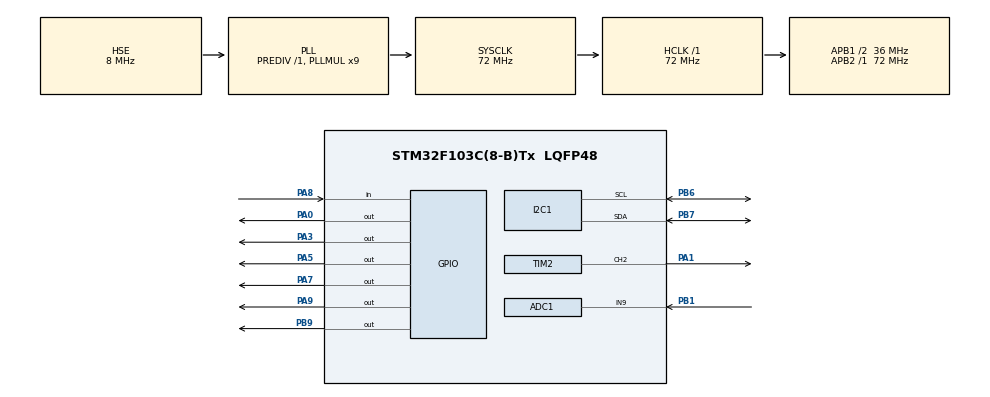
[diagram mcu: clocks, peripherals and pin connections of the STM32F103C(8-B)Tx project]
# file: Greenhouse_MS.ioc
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ADC1.Channel-0\#ChannelRegularConversion=ADC_CHANNEL_9
ADC1.ContinuousConvMode=ENABLE
ADC1.NbrOfConversionFlag=1
ADC1.Rank-0\#ChannelRegularConversion=1
ADC1.SamplingTime-0\#ChannelRegularConversion=ADC_SAMPLETIME_55CYCLES_5
ADC1.master=1
Mcu.Family=STM32F1
Mcu.Name=STM32F103C(8-B)Tx
Mcu.Package=LQFP48
NVIC.PriorityGroup=NVIC_PRIORITYGROUP_4
PA0-WKUP.Signal=GPIO_Output
PA1.Signal=S_TIM2_CH2
PA13.Mode=Serial_Wire
PA13.Signal=SYS_JTMS-SWDIO
PA14.Mode=Serial_Wire
PA14.Signal=SYS_JTCK-SWCLK
PA3.Signal=GPIO_Output
PA5.Signal=GPIO_Output
PA7.Signal=GPIO_Output
PA8.Signal=GPIO_Input
PA9.Signal=GPIO_Output
PB1.Signal=ADCx_IN9
PB6.Mode=I2C
PB6.Signal=I2C1_SCL
PB7.Mode=I2C
PB7.Signal=I2C1_SDA
PB9.Signal=GPIO_Output
PD0-OSC_IN.Mode=HSE-External-Oscillator
PD0-OSC_IN.Signal=RCC_OSC_IN
PD1-OSC_OUT.Mode=HSE-External-Oscillator
PD1-OSC_OUT.Signal=RCC_OSC_OUT
ProjectManager.HeapSize=0x200
ProjectManager.StackSize=0x400
ProjectManager.TargetToolchain=MDK-ARM V5.32
RCC.ADCPresc=RCC_ADCPCLK2_DIV6
RCC.AHBFreq_Value=72000000
RCC.APB1CLKDivider=RCC_HCLK_DIV2
RCC.APB1Freq_Value=36000000
RCC.APB1TimFreq_Value=72000000
RCC.APB2Freq_Value=72000000
RCC.APB2TimFreq_Value=72000000
RCC.HCLKFreq_Value=72000000
RCC.PLLMUL=RCC_PLL_MUL9
RCC.PLLSourceVirtual=RCC_PLLSOURCE_HSE
RCC.SYSCLKFreq_VALUE=72000000
RCC.SYSCLKSource=RCC_SYSCLKSOURCE_PLLCLK
RCC.USBFreq_Value=72000000
SH.ADCx_IN9.0=ADC1_IN9,IN9
SH.S_TIM2_CH2.0=TIM2_CH2,PWM Generation2 CH2
TIM1.Prescaler=71
TIM2.Channel-PWM\ Generation2\ CH2=TIM_CHANNEL_2
TIM2.Period=19999
TIM2.Prescaler=71
VP_TIM1_VS_ClockSourceINT.Mode=Internal
VP_TIM2_VS_ClockSourceINT.Mode=Internal
board=custom

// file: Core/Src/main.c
/* USER CODE BEGIN Header */
/**
  ******************************************************************************
  * @file           : main.c
  * @brief          : Enhanced Greenhouse Monitoring System
  ******************************************************************************
  * @attention
  *
  * Copyright (c) 2025 STMicroelectronics.
  * All rights reserved.
  *
  * This software is licensed under terms that can be found in the LICENSE file
  * in the root directory of this software component.
  * If no LICENSE file comes with this software, it is provided AS-IS.
  *
  ******************************************************************************
  */
/* USER CODE END Header */

#include "main.h"

/* USER CODE BEGIN Includes */
#include "stdio.h"
#include "string.h"
#include "liquidcrystal_i2c.h"
/* USER CODE END Includes */

/* USER CODE BEGIN PTD */
typedef struct {
    uint8_t dht_errors;
    uint8_t us_errors;
    uint8_t soil_errors;
    uint32_t last_error_time;
} error_tracker_t;

typedef enum {
    STATE_NORMAL,
    STATE_ALARM,
    STATE_ERROR,
    STATE_MAINTENANCE
} system_state_t;

typedef struct {
    uint8_t alarm_active;
    uint32_t alarm_start_time;
    uint8_t consecutive_alarms;
    uint32_t total_alarm_time;
    uint16_t alarm_count;
} alarm_state_t;

typedef struct {
    float temp_min, temp_max;
    float humidity_min, humidity_max;
    uint16_t soil_min, soil_max;
    uint16_t distance_min, distance_max;
    uint32_t last_reset_time;
} data_logger_t;
/* USER CODE END PTD */

/* USER CODE BEGIN PD */
// ---- DHT11 ----
#define DHT11_PORT GPIOB
#define DHT11_PIN  GPIO_PIN_9

// ---- HC-SR04 ----
#define TRIG_PIN   GPIO_PIN_9
#define TRIG_PORT  GPIOA
#define ECHO_PIN   GPIO_PIN_8
#define ECHO_PORT  GPIOA

// ---- Soil Moisture + LEDs ----
#define SOIL_PWR_PORT GPIOA
#define SOIL_PWR_PIN  GPIO_PIN_7
#define LED_R_PORT GPIOA
#define LED_R_PIN  GPIO_PIN_5
#define LED_G_PORT GPIOA
#define LED_G_PIN  GPIO_PIN_3
#define LED_B_PORT GPIOA
#define LED_B_PIN  GPIO_PIN_0

// ---- Servo (TIM2 CH2 on PA1) ----
#define SERVO_TIMER   htim2
#define SERVO_CH      TIM_CHANNEL_2
#define SERVO_FAST    1500  // 1.5ms pulse width for servo
#define SERVO_STOP    1000  // 1.0ms pulse width for servo

// ---- App settings ----
#define PAGE_MS       8000    // 8 sec page swap
#define SOIL_DRY_THR  3100
#define SOIL_MED_THR  2600
#define SOIL_WET_THR  2100
#define TANK_MIN_CM   5
#define TANK_MAX_CM   20      // Fixed: was 15, should be higher than MIN
#define DHT_READ_INTERVAL 2000 // 2 seconds between DHT reads
#define MAX_ERRORS    5
#define ALARM_TIMEOUT 300000   // 5 minutes max alarm
#define CALIBRATION_MODE 0     // Set to 1 for calibration mode

// Configuration validation
#if (SERVO_FAST <= SERVO_STOP)
#error "SERVO_FAST must be greater than SERVO_STOP"
#endif

#if (SOIL_DRY_THR <= SOIL_MED_THR)
#error "SOIL_DRY_THR must be greater than SOIL_MED_THR"
#endif

#if (TANK_MAX_CM <= TANK_MIN_CM)
#error "TANK_MAX_CM must be greater than TANK_MIN_CM"
#endif
/* USER CODE END PD */

ADC_HandleTypeDef hadc1;
I2C_HandleTypeDef hi2c1;
TIM_HandleTypeDef htim1;
TIM_HandleTypeDef htim2;

/* USER CODE BEGIN PV */
// DHT11 variables
static uint8_t RHI, RHD, TCI, TCD, SUM;
static float tCelsius = 0, tFahrenheit = 0, RH = 0;
static uint32_t pMillis, cMillis;
static uint32_t last_dht_read = 0;

// System state
static uint8_t all_ready = 0;
static uint8_t show_mode = 0;
static uint32_t last_switch_ms = 0;
static uint32_t blink_timer = 0;
static uint8_t blink_state = 0;

// Enhanced error tracking
static error_tracker_t errors = {0};
static system_state_t system_state = STATE_NORMAL;
static alarm_state_t alarm_state = {0};
static data_logger_t data_log = {
    .temp_min = 999, .temp_max = -999,
    .humidity_min = 999, .humidity_max = -999,
    .soil_min = 9999, .soil_max = 0,
    .distance_min = 999, .distance_max = 0,
    .last_reset_time = 0
};
/* USER CODE END PV */

void SystemClock_Config(void);
static void MX_GPIO_Init(void);
static void MX_ADC1_Init(void);
static void MX_I2C1_Init(void);
static void MX_TIM1_Init(void);
static void MX_TIM2_Init(void);

/* USER CODE BEGIN FPP */
// Basic sensor functions
static void microDelay(uint16_t us);
static uint8_t DHT11_Start(void);
static uint8_t DHT11_Read(void);
static uint8_t read_DHT11_basic(void);
static uint8_t read_HCSR04_cm_basic(uint16_t *cm);
static uint16_t read_soil_adc_basic(void);

// Enhanced sensor functions
static uint8_t read_DHT11_improved(void);
static uint8_t read_HCSR04_filtered(uint16_t *cm);
static uint16_t read_soil_adc_averaged(void);

// Display and control functions
static void set_leds(uint8_t r, uint8_t g, uint8_t b);
static void update_status_leds(uint8_t soil_dry, uint8_t soil_med, uint8_t soil_wet, uint8_t alarm);
static void servo_drive_fast(uint8_t on);

// System health and alarm functions
static uint8_t system_health_check(void);
static void update_alarm_logic(uint16_t soil, uint16_t tank_cm);
static void display_error_info(void);
static void display_stats_info(void);
static void update_data_logger(float temp, float hum, uint16_t soil, uint16_t dist);

// Device readiness checks
static uint8_t check_DHT_ready(void);
static uint8_t check_US_ready(void);
static uint8_t check_SOIL_ready(void);
static uint8_t check_SERVO_ready(void);
/* USER CODE END FPP */

/* USER CODE BEGIN 0 */

// ===== BASIC SENSOR FUNCTIONS =====
static void microDelay(uint16_t us) {
    __HAL_TIM_SET_COUNTER(&htim1, 0);
    while (__HAL_TIM_GET_COUNTER(&htim1) < us);
}

static uint8_t DHT11_Start(void) {
    uint8_t Response = 0;
    GPIO_InitTypeDef s = {0};
    s.Pin = DHT11_PIN;
    s.Mode = GPIO_MODE_OUTPUT_PP;
    s.Speed = GPIO_SPEED_FREQ_LOW;
    s.Pull = GPIO_NOPULL;
    HAL_GPIO_Init(DHT11_PORT, &s);
    HAL_GPIO_WritePin(DHT11_PORT, DHT11_PIN, GPIO_PIN_RESET);
    HAL_Delay(20);
    HAL_GPIO_WritePin(DHT11_PORT, DHT11_PIN, GPIO_PIN_SET);
    microDelay(30);
    s.Mode = GPIO_MODE_INPUT;
    s.Pull = GPIO_PULLUP;
    HAL_GPIO_Init(DHT11_PORT, &s);
    microDelay(40);
    if (!HAL_GPIO_ReadPin(DHT11_PORT, DHT11_PIN)) {
        microDelay(80);
        if (HAL_GPIO_ReadPin(DHT11_PORT, DHT11_PIN)) Response = 1;
    }
    pMillis = HAL_GetTick();
    cMillis = HAL_GetTick();
    while (HAL_GPIO_ReadPin(DHT11_PORT, DHT11_PIN) && (pMillis + 2 > cMillis)) {
        cMillis = HAL_GetTick();
    }
    return Response;
}

static uint8_t DHT11_Read(void) {
    uint8_t a, b = 0;
    for (a = 0; a < 8; a++) {
        pMillis = HAL_GetTick();
        cMillis = HAL_GetTick();
        while (!HAL_GPIO_ReadPin(DHT11_PORT, DHT11_PIN) && (pMillis + 2 > cMillis)) {
            cMillis = HAL_GetTick();
        }
        microDelay(40);
        if (!HAL_GPIO_ReadPin(DHT11_PORT, DHT11_PIN))
            b &= ~(1 << (7 - a));
        else
            b |= (1 << (7 - a));
        pMillis = HAL_GetTick();
        cMillis = HAL_GetTick();
        while (HAL_GPIO_ReadPin(DHT11_PORT, DHT11_PIN) && (pMillis + 2 > cMillis)) {
            cMillis = HAL_GetTick();
        }
    }
    return b;
}

static uint8_t read_DHT11_basic(void) {
    if (!DHT11_Start()) return 0;
    RHI = DHT11_Read();
    RHD = DHT11_Read();
    TCI = DHT11_Read();
    TCD = DHT11_Read();
    SUM = DHT11_Read();
    if ((uint8_t)(RHI + RHD + TCI + TCD) != SUM) return 0;
    tCelsius = (float)TCI + (float)(TCD / 10.0f);
    tFahrenheit = tCelsius * 9.0f / 5.0f + 32.0f;
    RH = (float)RHI + (float)(RHD / 10.0f);
    return 1;
}

static uint8_t read_HCSR04_cm_basic(uint16_t *cm) {
    HAL_GPIO_WritePin(TRIG_PORT, TRIG_PIN, GPIO_PIN_RESET);
    microDelay(2);
    HAL_GPIO_WritePin(TRIG_PORT, TRIG_PIN, GPIO_PIN_SET);
    microDelay(10);
    HAL_GPIO_WritePin(TRIG_PORT, TRIG_PIN, GPIO_PIN_RESET);

    uint32_t timeout_start = HAL_GetTick();
    // Wait for echo start
    while (!HAL_GPIO_ReadPin(ECHO_PORT, ECHO_PIN)) {
        if (HAL_GetTick() - timeout_start > 10) return 0;
    }

    uint32_t v1 = __HAL_TIM_GET_COUNTER(&htim1);
    timeout_start = HAL_GetTick();

    // Wait for echo end
    while (HAL_GPIO_ReadPin(ECHO_PORT, ECHO_PIN)) {
        if (HAL_GetTick() - timeout_start > 50) return 0;
    }

    uint32_t v2 = __HAL_TIM_GET_COUNTER(&htim1);

    // Handle timer overflow
    if (v2 < v1) {
        v2 += 65536;
    }

    uint32_t pulse_width = v2 - v1;
    *cm = (uint16_t)(pulse_width * 0.034f / 2.0f);

    // Sanity check for reasonable distance (2cm to 400cm)
    if (*cm < 2 || *cm > 400) {
        return 0;
    }

    return 1;
}

static uint16_t read_soil_adc_basic(void) {
    HAL_GPIO_WritePin(SOIL_PWR_PORT, SOIL_PWR_PIN, GPIO_PIN_SET);
    HAL_Delay(50); // Increased stabilization time

    HAL_ADC_Start(&hadc1);
    if (HAL_ADC_PollForConversion(&hadc1, 100) != HAL_OK) {
        HAL_GPIO_WritePin(SOIL_PWR_PORT, SOIL_PWR_PIN, GPIO_PIN_RESET);
        return 0;
    }

    uint16_t v = HAL_ADC_GetValue(&hadc1);
    HAL_ADC_Stop(&hadc1);
    HAL_GPIO_WritePin(SOIL_PWR_PORT, SOIL_PWR_PIN, GPIO_PIN_RESET);
    return v;
}

// ===== ENHANCED SENSOR FUNCTIONS =====
static uint8_t read_DHT11_improved(void) {
    uint32_t now = HAL_GetTick();

    // DHT11 needs 2s between readings
    if (now - last_dht_read < DHT_READ_INTERVAL) {
        return 1; // Use previous values
    }
    last_dht_read = now;

    if (!DHT11_Start()) {
        errors.dht_errors++;
        errors.last_error_time = now;
        return 0;
    }

    RHI = DHT11_Read();
    RHD = DHT11_Read();
    TCI = DHT11_Read();
    TCD = DHT11_Read();
    SUM = DHT11_Read();

    if ((uint8_t)(RHI + RHD + TCI + TCD) != SUM) {
        errors.dht_errors++;
        errors.last_error_time = now;
        return 0;
    }

    // Sanity checks for realistic values
    if (TCI > 50 || RHI > 100) {
        errors.dht_errors++;
        errors.last_error_time = now;
        return 0;
    }

    // Reset error counter on success
    if (errors.dht_errors > 0) {
        errors.dht_errors--;
    }

    tCelsius = (float)TCI + (float)(TCD / 10.0f);
    tFahrenheit = tCelsius * 9.0f / 5.0f + 32.0f;
    RH = (float)RHI + (float)(RHD / 10.0f);

    return 1;
}

static uint8_t read_HCSR04_filtered(uint16_t *cm) {
    const uint8_t max_attempts = 3;
    uint16_t readings[3] = {0};
    uint8_t valid_readings = 0;

    for (uint8_t i = 0; i < max_attempts; i++) {
        if (read_HCSR04_cm_basic(&readings[valid_readings])) {
            valid_readings++;
        }
        HAL_Delay(20); // Increased delay between readings
    }

    if (valid_readings == 0) {
        errors.us_errors++;
        errors.last_error_time = HAL_GetTick();
        return 0;
    }

    // Use median of valid readings (simple implementation)
    if (valid_readings >= 2) {
        // Sort valid readings
        for (uint8_t i = 0; i < valid_readings - 1; i++) {
            for (uint8_t j = i + 1; j < valid_readings; j++) {
                if (readings[i] > readings[j]) {
                    uint16_t temp = readings[i];
                    readings[i] = readings[j];
                    readings[j] = temp;
                }
            }
        }
        *cm = readings[valid_readings / 2]; // Take median
    } else {
        *cm = readings[0];
    }

    // Reset error counter on success
    if (errors.us_errors > 0) {
        errors.us_errors--;
    }

    return 1;
}

static uint16_t read_soil_adc_averaged(void) {
    const uint8_t samples = 5;
    uint32_t sum = 0;
    uint8_t valid_samples = 0;

    HAL_GPIO_WritePin(SOIL_PWR_PORT, SOIL_PWR_PIN, GPIO_PIN_SET);
    HAL_Delay(100); // Longer stabilization

    for (uint8_t i = 0; i < samples; i++) {
        HAL_ADC_Start(&hadc1);
        if (HAL_ADC_PollForConversion(&hadc1, 50) == HAL_OK) {
            uint16_t reading = HAL_ADC_GetValue(&hadc1);
            if (reading > 0) { // Basic validity check
                sum += reading;
                valid_samples++;
            }
        }
        HAL_ADC_Stop(&hadc1);
        HAL_Delay(20);
    }

    HAL_GPIO_WritePin(SOIL_PWR_PORT, SOIL_PWR_PIN, GPIO_PIN_RESET);

    if (valid_samples == 0) {
        errors.soil_errors++;
        errors.last_error_time = HAL_GetTick();
        return 0;
    }

    // Reset error counter on success
    if (errors.soil_errors > 0) {
        errors.soil_errors--;
    }

    return (uint16_t)(sum / valid_samples);
}

// ===== DISPLAY AND CONTROL FUNCTIONS =====
static void set_leds(uint8_t r, uint8_t g, uint8_t b) {
    HAL_GPIO_WritePin(LED_R_PORT, LED_R_PIN, r ? GPIO_PIN_SET : GPIO_PIN_RESET);
    HAL_GPIO_WritePin(LED_G_PORT, LED_G_PIN, g ? GPIO_PIN_SET : GPIO_PIN_RESET);
    HAL_GPIO_WritePin(LED_B_PORT, LED_B_PIN, b ? GPIO_PIN_SET : GPIO_PIN_RESET);
}

static void update_status_leds(uint8_t soil_dry, uint8_t soil_med, uint8_t soil_wet, uint8_t alarm) {
    if (alarm) {
        // Blink red LED for alarm
        if (HAL_GetTick() - blink_timer > 500) {
            blink_state ^= 1;
            blink_timer = HAL_GetTick();
        }
        set_leds(blink_state, 0, 0);
    } else {
        // Normal moisture indication
        set_leds(soil_dry, soil_med, soil_wet);
    }
}

static void servo_drive_fast(uint8_t on) {
    __HAL_TIM_SET_COMPARE(&SERVO_TIMER, SERVO_CH, on ? SERVO_FAST : SERVO_STOP);
}

// ===== SYSTEM HEALTH AND ALARM FUNCTIONS =====
static uint8_t system_health_check(void) {
    uint32_t now = HAL_GetTick();

    // Check for persistent errors
    if (errors.dht_errors > MAX_ERRORS || errors.us_errors > MAX_ERRORS || errors.soil_errors > MAX_ERRORS) {
        system_state = STATE_ERROR;
        errors.last_error_time = now;
        return 0;
    }

    // Check for stuck alarm
    if (alarm_state.alarm_active && (now - alarm_state.alarm_start_time > ALARM_TIMEOUT)) {
        system_state = STATE_MAINTENANCE;
        return 0;
    }

    // Reset to normal if no issues
    if (system_state == STATE_ERROR && (now - errors.last_error_time > 30000)) { // 30s recovery
        system_state = STATE_NORMAL;
    }

    return 1;
}

static void update_alarm_logic(uint16_t soil, uint16_t tank_cm) {
    uint8_t soil_critical = (soil > SOIL_DRY_THR + 100); // Hysteresis
    uint8_t tank_critical = (tank_cm < TANK_MIN_CM || tank_cm > TANK_MAX_CM);
    uint8_t alarm_condition = soil_critical || tank_critical;

    if (alarm_condition && !alarm_state.alarm_active) {
        alarm_state.consecutive_alarms++;
        if (alarm_state.consecutive_alarms >= 3) { // Confirm alarm after 3 consecutive detections
            alarm_state.alarm_active = 1;
            alarm_state.alarm_start_time = HAL_GetTick();
            alarm_state.alarm_count++;
            system_state = STATE_ALARM;
            servo_drive_fast(1);
        }
    } else if (!alarm_condition && alarm_state.alarm_active) {
        // Clear alarm with hysteresis
        if (soil < (SOIL_DRY_THR - 100) && tank_cm >= TANK_MIN_CM && tank_cm <= TANK_MAX_CM) {
            alarm_state.total_alarm_time += (HAL_GetTick() - alarm_state.alarm_start_time);
            alarm_state.alarm_active = 0;
            alarm_state.consecutive_alarms = 0;
            system_state = STATE_NORMAL;
            servo_drive_fast(0);
        }
    }

    if (!alarm_condition) {
        alarm_state.consecutive_alarms = 0;
    }
}

static void display_error_info(void) {
    char line[17];
    HD44780_Clear();
    HD44780_SetCursor(0, 0);
    HD44780_PrintStr("System Errors:");
    snprintf(line, sizeof(line), "D:%u U:%u S:%u",
             errors.dht_errors, errors.us_errors, errors.soil_errors);
    HD44780_SetCursor(0, 1);
    HD44780_PrintStr(line);
}

static void display_stats_info(void) {
    char l1[17], l2[17];
    snprintf(l1, sizeof(l1), "Alarms:%3u", alarm_state.alarm_count);
    snprintf(l2, sizeof(l2), "T:%.1f-%.1fC", data_log.temp_min, data_log.temp_max);
    HD44780_Clear();
    HD44780_SetCursor(0, 0);
    HD44780_PrintStr(l1);
    HD44780_SetCursor(0, 1);
    HD44780_PrintStr(l2);
}

static void update_data_logger(float temp, float hum, uint16_t soil, uint16_t dist) {
    // Update min/max values only with valid data
    if (temp > -40 && temp < 80) { // Reasonable temperature range
        if (data_log.temp_min > 900 || temp < data_log.temp_min) data_log.temp_min = temp;
        if (data_log.temp_max < -900 || temp > data_log.temp_max) data_log.temp_max = temp;
    }
    if (hum >= 0 && hum <= 100) { // Valid humidity range
        if (data_log.humidity_min > 900 || hum < data_log.humidity_min) data_log.humidity_min = hum;
        if (data_log.humidity_max < -900 || hum > data_log.humidity_max) data_log.humidity_max = hum;
    }
    if (soil > 0 && soil < 4096) { // Valid ADC range
        if (soil < data_log.soil_min) data_log.soil_min = soil;
        if (soil > data_log.soil_max) data_log.soil_max = soil;
    }
    if (dist > 0 && dist < 400) { // Valid distance range
        if (data_log.distance_min > 900 || dist < data_log.distance_min) data_log.distance_min = dist;
        if (dist > data_log.distance_max) data_log.distance_max = dist;
    }
}

// ===== DEVICE READINESS CHECKS =====
static uint8_t check_DHT_ready(void) {
    uint8_t result = read_DHT11_basic();
    HAL_Delay(100); // Give sensor time to recover
    return result;
}

static uint8_t check_US_ready(void) {
    uint16_t cm;
    uint8_t result = read_HCSR04_cm_basic(&cm);
    HAL_Delay(100);
    return result;
}

static uint8_t check_SOIL_ready(void) {
    uint16_t v = read_soil_adc_basic();
    return (v > 0 && v < 4096);
}

static uint8_t check_SERVO_ready(void) {
    // Test servo by moving it briefly
    servo_drive_fast(1);
    HAL_Delay(200);
    servo_drive_fast(0);
    HAL_Delay(200);
    return 1;
}

/* USER CODE END 0 */

int main(void)
{

/* Reset of all peripherals, Initializes the Flash interface and the Systick. */
HAL_Init();

/* Configure the system clock */
SystemClock_Config();

/* Initialize all configured peripherals */
MX_GPIO_Init();
MX_ADC1_Init();
MX_I2C1_Init();
MX_TIM1_Init();
MX_TIM2_Init();

/* USER CODE BEGIN 2 */
// Start timers and ADC
HAL_TIM_Base_Start(&htim1);
HAL_TIM_PWM_Start(&htim2, TIM_CHANNEL_2);

// Initialize LCD
HAL_Delay(1000); // Give I2C devices time to initialize
HD44780_Init(2);
HAL_Delay(500);
HD44780_Clear();
HD44780_SetCursor(0, 0);
HD44780_PrintStr("Greenhouse System");
HAL_Delay(2000);

HD44780_Clear();
HD44780_SetCursor(3, 0); // Centered on a 16x2 display
HD44780_PrintStr("Group : 3");
HAL_Delay(2000);

// Initialize data logger
data_log.last_reset_time = HAL_GetTick();

// Initialize servo to stop position
servo_drive_fast(0);

// Readiness loop with enhanced feedback
uint8_t retry_count = 0;
while (!all_ready && retry_count < 10) {
    all_ready = 1;

    HD44780_Clear();
    HD44780_SetCursor(0, 0);
    HD44780_PrintStr("Checking devices");
    HAL_Delay(500);

    if (!check_DHT_ready()) {
        HD44780_Clear();
        HD44780_PrintStr("DHT11 not ready");
        all_ready = 0;
        HAL_Delay(1000);
    }
    if (!check_US_ready()) {
        HD44780_Clear();
        HD44780_PrintStr("HC-SR04 not rdy");
        all_ready = 0;
        HAL_Delay(1000);
    }
    if (!check_SOIL_ready()) {
        HD44780_Clear();
        HD44780_PrintStr("Soil sens n/rdy");
        all_ready = 0;
        HAL_Delay(1000);
    }
    if (!check_SERVO_ready()) {
        HD44780_Clear();
        HD44780_PrintStr("Servo not ready");
        all_ready = 0;
        HAL_Delay(1000);
    }

    if (!all_ready) {
        retry_count++;
        char msg[17];
        snprintf(msg, sizeof(msg), "Retry %u/10", retry_count);
        HD44780_Clear();
        HD44780_SetCursor(0, 0);
        HD44780_PrintStr("Init failed");
        HD44780_SetCursor(0, 1);
        HD44780_PrintStr(msg);
        HAL_Delay(2000);
    }
}

if (all_ready) {
    HD44780_Clear();
    HD44780_PrintStr("All devices OK");
    set_leds(0, 1, 0); // Green LED for ready
    HAL_Delay(1000);
    set_leds(0, 0, 0);
    } else {
    HD44780_Clear();
    HD44780_PrintStr("Init FAILED!");
    HD44780_SetCursor(0, 1);
    HD44780_PrintStr("Check hardware");
    set_leds(1, 0, 0); // Red LED for error
    while(1) {
        // Blink error pattern
        set_leds(1, 0, 0);
        HAL_Delay(500);
        set_leds(0, 0, 0);
        HAL_Delay(500);
    } // Halt system
}

last_switch_ms = HAL_GetTick();
show_mode = 0;

/* USER CODE END 2 */

/* Infinite loop */
/* USER CODE BEGIN WHILE */
while (1)
{
    // System health check
    system_health_check();

    // Read sensors with enhanced functions
    uint16_t soil = read_soil_adc_averaged();
    uint16_t cm = 999;
    uint8_t distance_valid = read_HCSR04_filtered(&cm);
    uint8_t dht_valid = read_DHT11_improved();

    // Validate sensor readings
    if (soil == 0) soil = 2048; // Default middle value if ADC fails
    if (!distance_valid) cm = 999; // Error indicator

    // Soil moisture classification
    uint8_t soil_dry = (soil > SOIL_DRY_THR);
    uint8_t soil_med = (soil > SOIL_MED_THR) && (soil <= SOIL_DRY_THR);
    uint8_t soil_wet = (soil <= SOIL_WET_THR);

    // Tank status
    uint8_t tank_ok = distance_valid && (cm >= TANK_MIN_CM) && (cm <= TANK_MAX_CM);

    // Update alarm logic with enhanced hysteresis
    if (distance_valid) {
        update_alarm_logic(soil, cm);
    }

    // Update data logger
    if (dht_valid && distance_valid) {
        update_data_logger(tCelsius, RH, soil, cm);
    }

    // LED status with enhanced blinking for alarms
    update_status_leds(soil_dry, soil_med, soil_wet, alarm_state.alarm_active);

    // Display logic based on system state
    switch (system_state) {
        case STATE_ERROR:
            display_error_info();
            break;

        case STATE_MAINTENANCE:
            HD44780_Clear();
            HD44780_SetCursor(0, 0);
            HD44780_PrintStr("MAINTENANCE MODE");
            HD44780_SetCursor(0, 1);
            HD44780_PrintStr("Check system");
            servo_drive_fast(0); // Stop servo in maintenance
            break;

        case STATE_ALARM:
            HD44780_Clear();
            HD44780_SetCursor(0, 0);
            HD44780_PrintStr("ALERT: Action Req");
            char line[17];
            snprintf(line, sizeof(line), "S:%4u D:%2u", soil, (cm > 99 ? 99 : cm));
            HD44780_SetCursor(0, 1);
            HD44780_PrintStr(line);
            break;

        case STATE_NORMAL:
        default:
            // Enhanced page switching with more pages
            if (HAL_GetTick() - last_switch_ms >= PAGE_MS) {
                show_mode = (show_mode + 1) % 4; // 4 different pages
                last_switch_ms = HAL_GetTick();
            }

            switch (show_mode) {
                case 0: // DHT11 page
                    if (dht_valid) {
                        char l1[17], l2[17];
                        snprintf(l1, sizeof(l1), "T:%2d.%1dC H:%2d%%", TCI, (TCD/10), RHI);
                        int fahr_int = (int)tFahrenheit;
                        int fahr_dec = (int)(tFahrenheit * 10) % 10;
                        snprintf(l2, sizeof(l2), "F:%3d.%1d RH:%2d.%1d",
                                 fahr_int, fahr_dec, RHI, (RHD/10));
                        HD44780_Clear();
                        HD44780_SetCursor(0, 0);
                        HD44780_PrintStr(l1);
                        HD44780_SetCursor(0, 1);
                        HD44780_PrintStr(l2);
                    } else {
                        HD44780_Clear();
                        HD44780_PrintStr("DHT11 error");
                        char err_line[17];
                        snprintf(err_line, sizeof(err_line), "Errors: %u", errors.dht_errors);
                        HD44780_SetCursor(0, 1);
                        HD44780_PrintStr(err_line);
                    }
                    break;

                case 1: // Tank distance page
                    {
                        char l1[17], l2[17];
                        if (distance_valid) {
                            snprintf(l1, sizeof(l1), "Tank Dist:%2ucm", (cm > 99 ? 99 : cm));
                            snprintf(l2, sizeof(l2), "Range 5-20cm %s", tank_ok ? "OK" : "BAD");
                        } else {
                            snprintf(l1, sizeof(l1), "Tank: No signal");
                            snprintf(l2, sizeof(l2), "US Errors: %u", errors.us_errors);
                        }
                        HD44780_Clear();
                        HD44780_SetCursor(0, 0);
                        HD44780_PrintStr(l1);
                        HD44780_SetCursor(0, 1);
                        HD44780_PrintStr(l2);
                    }
                    break;

                case 2: // Soil moisture page
                    {
                        char l1[17], l2[17];
                        snprintf(l1, sizeof(l1), "Soil ADC: %4u", soil);
                        const char* status = soil_wet ? "WET" : (soil_med ? "MED" : "DRY");
                        snprintf(l2, sizeof(l2), "Status: %s", status);
                        HD44780_Clear();
                        HD44780_SetCursor(0, 0);
                        HD44780_PrintStr(l1);
                        HD44780_SetCursor(0, 1);
                        HD44780_PrintStr(l2);

                        #if CALIBRATION_MODE
                        // In calibration mode, also show raw values
                        HAL_Delay(1000);
                        HD44780_Clear();
                        HD44780_SetCursor(0, 0);
                        HD44780_PrintStr("Calibration");
                        snprintf(l2, sizeof(l2), "Raw: %4u", soil);
                        HD44780_SetCursor(0, 1);
                        HD44780_PrintStr(l2);
                        #endif
                    }
                    break;

                case 3: // Statistics page
                    display_stats_info();
                    break;
            }
            break;
    }

    // Adaptive delay based on system state
    switch (system_state) {
        case STATE_ALARM:
            HAL_Delay(100); // Faster updates during alarm
            break;
        case STATE_ERROR:
            HAL_Delay(500); // Medium updates during error
            break;
        default:
            HAL_Delay(200); // Normal update rate
            break;
    }

/* USER CODE END WHILE */

}
}

void SystemClock_Config(void)
{
  RCC_OscInitTypeDef RCC_OscInitStruct = {0};
  RCC_ClkInitTypeDef RCC_ClkInitStruct = {0};
  RCC_PeriphCLKInitTypeDef PeriphClkInit = {0};

  /** Initializes the RCC Oscillators */
  RCC_OscInitStruct.OscillatorType = RCC_OSCILLATORTYPE_HSE;
  RCC_OscInitStruct.HSEState = RCC_HSE_ON;
  RCC_OscInitStruct.HSEPredivValue = RCC_HSE_PREDIV_DIV1;
  RCC_OscInitStruct.HSIState = RCC_HSI_ON;
  RCC_OscInitStruct.PLL.PLLState = RCC_PLL_ON;
  RCC_OscInitStruct.PLL.PLLSource = RCC_PLLSOURCE_HSE;
  RCC_OscInitStruct.PLL.PLLMUL = RCC_PLL_MUL9;
  if (HAL_RCC_OscConfig(&RCC_OscInitStruct) != HAL_OK) { Error_Handler(); }

  /** Initializes the CPU, AHB and APB buses clocks */
  RCC_ClkInitStruct.ClockType = RCC_CLOCKTYPE_HCLK|RCC_CLOCKTYPE_SYSCLK
                              |RCC_CLOCKTYPE_PCLK1|RCC_CLOCKTYPE_PCLK2;
  RCC_ClkInitStruct.SYSCLKSource = RCC_SYSCLKSOURCE_PLLCLK;
  RCC_ClkInitStruct.AHBCLKDivider = RCC_SYSCLK_DIV1;
  RCC_ClkInitStruct.APB1CLKDivider = RCC_HCLK_DIV2;
  RCC_ClkInitStruct.APB2CLKDivider = RCC_HCLK_DIV1;
  if (HAL_RCC_ClockConfig(&RCC_ClkInitStruct, FLASH_LATENCY_2) != HAL_OK) { Error_Handler(); }

  /** ADC clock */
  PeriphClkInit.PeriphClockSelection = RCC_PERIPHCLK_ADC;
  PeriphClkInit.AdcClockSelection = RCC_ADCPCLK2_DIV6;
  if (HAL_RCCEx_PeriphCLKConfig(&PeriphClkInit) != HAL_OK) { Error_Handler(); }
}

static void MX_ADC1_Init(void)
{
  ADC_ChannelConfTypeDef sConfig = {0};

  hadc1.Instance = ADC1;
  hadc1.Init.ScanConvMode = ADC_SCAN_DISABLE;
  hadc1.Init.ContinuousConvMode = DISABLE; // Changed to DISABLE for better control
  hadc1.Init.DiscontinuousConvMode = DISABLE;
  hadc1.Init.ExternalTrigConv = ADC_SOFTWARE_START;
  hadc1.Init.DataAlign = ADC_DATAALIGN_RIGHT;
  hadc1.Init.NbrOfConversion = 1;
  if (HAL_ADC_Init(&hadc1) != HAL_OK) { Error_Handler(); }

  sConfig.Channel = ADC_CHANNEL_9;                 // PB1
  sConfig.Rank = ADC_REGULAR_RANK_1;
  sConfig.SamplingTime = ADC_SAMPLETIME_55CYCLES_5;
  if (HAL_ADC_ConfigChannel(&hadc1, &sConfig) != HAL_OK) { Error_Handler(); }
}

static void MX_I2C1_Init(void)
{
  hi2c1.Instance = I2C1;
  hi2c1.Init.ClockSpeed = 100000;
  hi2c1.Init.DutyCycle = I2C_DUTYCYCLE_2;
  hi2c1.Init.OwnAddress1 = 0;
  hi2c1.Init.AddressingMode = I2C_ADDRESSINGMODE_7BIT;
  hi2c1.Init.DualAddressMode = I2C_DUALADDRESS_DISABLE;
  hi2c1.Init.OwnAddress2 = 0;
  hi2c1.Init.GeneralCallMode = I2C_GENERALCALL_DISABLE;
  hi2c1.Init.NoStretchMode = I2C_NOSTRETCH_DISABLE;
  if (HAL_I2C_Init(&hi2c1) != HAL_OK) { Error_Handler(); }
}

static void MX_TIM1_Init(void)
{
  TIM_ClockConfigTypeDef sClockSourceConfig = {0};
  TIM_MasterConfigTypeDef sMasterConfig = {0};

  htim1.Instance = TIM1;
  htim1.Init.Prescaler = 71;                    // 72MHz / (71+1) = 1MHz -> 1us
  htim1.Init.CounterMode = TIM_COUNTERMODE_UP;
  htim1.Init.Period = 65535;
  htim1.Init.ClockDivision = TIM_CLOCKDIVISION_DIV1;
  htim1.Init.RepetitionCounter = 0;
  htim1.Init.AutoReloadPreload = TIM_AUTORELOAD_PRELOAD_DISABLE;
  if (HAL_TIM_Base_Init(&htim1) != HAL_OK) { Error_Handler(); }

  sClockSourceConfig.ClockSource = TIM_CLOCKSOURCE_INTERNAL;
  if (HAL_TIM_ConfigClockSource(&htim1, &sClockSourceConfig) != HAL_OK) { Error_Handler(); }

  sMasterConfig.MasterOutputTrigger = TIM_TRGO_RESET;
  sMasterConfig.MasterSlaveMode = TIM_MASTERSLAVEMODE_DISABLE;
  if (HAL_TIMEx_MasterConfigSynchronization(&htim1, &sMasterConfig) != HAL_OK) { Error_Handler(); }
}

static void MX_TIM2_Init(void)
{
  TIM_ClockConfigTypeDef sClockSourceConfig = {0};
  TIM_MasterConfigTypeDef sMasterConfig = {0};
  TIM_OC_InitTypeDef sConfigOC = {0};

  htim2.Instance = TIM2;
  htim2.Init.Prescaler = 71;                   // For 50Hz servo PWM
  htim2.Init.CounterMode = TIM_COUNTERMODE_UP;
  htim2.Init.Period = 19999;                    // 20ms period
  htim2.Init.ClockDivision = TIM_CLOCKDIVISION_DIV1;
  htim2.Init.AutoReloadPreload = TIM_AUTORELOAD_PRELOAD_DISABLE;
  if (HAL_TIM_Base_Init(&htim2) != HAL_OK) { Error_Handler(); }

  sClockSourceConfig.ClockSource = TIM_CLOCKSOURCE_INTERNAL;
  if (HAL_TIM_ConfigClockSource(&htim2, &sClockSourceConfig) != HAL_OK) { Error_Handler(); }

  if (HAL_TIM_PWM_Init(&htim2) != HAL_OK) { Error_Handler(); }

  sMasterConfig.MasterOutputTrigger = TIM_TRGO_RESET;
  sMasterConfig.MasterSlaveMode = TIM_MASTERSLAVEMODE_DISABLE;
  if (HAL_TIMEx_MasterConfigSynchronization(&htim2, &sMasterConfig) != HAL_OK) { Error_Handler(); }

  sConfigOC.OCMode = TIM_OCMODE_PWM1;
  sConfigOC.Pulse = SERVO_STOP; // Initialize to stop position
  sConfigOC.OCPolarity = TIM_OCPOLARITY_HIGH;
  sConfigOC.OCFastMode = TIM_OCFAST_DISABLE;
  if (HAL_TIM_PWM_ConfigChannel(&htim2, &sConfigOC, TIM_CHANNEL_2) != HAL_OK) { Error_Handler(); }

  HAL_TIM_MspPostInit(&htim2);   // config PA1 AF for TIM2_CH2
}

static void MX_GPIO_Init(void)
{
  GPIO_InitTypeDef GPIO_InitStruct = {0};

  /* GPIO Ports Clock Enable */
  __HAL_RCC_GPIOD_CLK_ENABLE();
  __HAL_RCC_GPIOA_CLK_ENABLE();
  __HAL_RCC_GPIOB_CLK_ENABLE();

  /* Set default outputs low */
  HAL_GPIO_WritePin(GPIOA, GPIO_PIN_0|GPIO_PIN_3|GPIO_PIN_5|GPIO_PIN_7|GPIO_PIN_9, GPIO_PIN_RESET);
  HAL_GPIO_WritePin(GPIOB, GPIO_PIN_9, GPIO_PIN_RESET);

  /* PA0, PA3, PA5, PA7, PA9 as outputs (LEDs, soil power, TRIG) */
  GPIO_InitStruct.Pin = GPIO_PIN_0|GPIO_PIN_3|GPIO_PIN_5|GPIO_PIN_7|GPIO_PIN_9;
  GPIO_InitStruct.Mode = GPIO_MODE_OUTPUT_PP;
  GPIO_InitStruct.Pull = GPIO_NOPULL;
  GPIO_InitStruct.Speed = GPIO_SPEED_FREQ_LOW;
  HAL_GPIO_Init(GPIOA, &GPIO_InitStruct);

  /* PA8 as input (ECHO) */
  GPIO_InitStruct.Pin = GPIO_PIN_8;
  GPIO_InitStruct.Mode = GPIO_MODE_INPUT;
  GPIO_InitStruct.Pull = GPIO_NOPULL;
  HAL_GPIO_Init(GPIOA, &GPIO_InitStruct);

  /* PB9 as output (DHT11 line starts as output, will switch to input later) */
  GPIO_InitStruct.Pin = GPIO_PIN_9;
  GPIO_InitStruct.Mode = GPIO_MODE_OUTPUT_PP;
  GPIO_InitStruct.Pull = GPIO_NOPULL;
  GPIO_InitStruct.Speed = GPIO_SPEED_FREQ_LOW;
  HAL_GPIO_Init(GPIOB, &GPIO_InitStruct);
}

void Error_Handler(void)
{
  /* USER CODE BEGIN Error_Handler_Debug */
  __disable_irq();
  while (1)
  {
    // Blink all LEDs to indicate fatal error
    HAL_GPIO_WritePin(GPIOA, GPIO_PIN_0|GPIO_PIN_3|GPIO_PIN_5, GPIO_PIN_SET);
    HAL_Delay(200);
    HAL_GPIO_WritePin(GPIOA, GPIO_PIN_0|GPIO_PIN_3|GPIO_PIN_5, GPIO_PIN_RESET);
    HAL_Delay(200);
  }
  /* USER CODE END Error_Handler_Debug */
}

#ifdef  USE_FULL_ASSERT
/**
  * @brief  Reports the name of the source file and the source line number
  *         where the assert_param error has occurred.
  * @param  file: pointer to the source file name
  * @param  line: assert_param error line source number
  * @retval None
  */
void assert_failed(uint8_t *file, uint32_t line)
{
  /* USER CODE BEGIN 6 */
  /* User can add his own implementation to report the file name and line number,
     ex: printf("Wrong parameters value: file %s on line %d\r\n", file, line) */
  (void)file;
  (void)line;
  /* USER CODE END 6 */
}
#endif /* USE_FULL_ASSERT */
